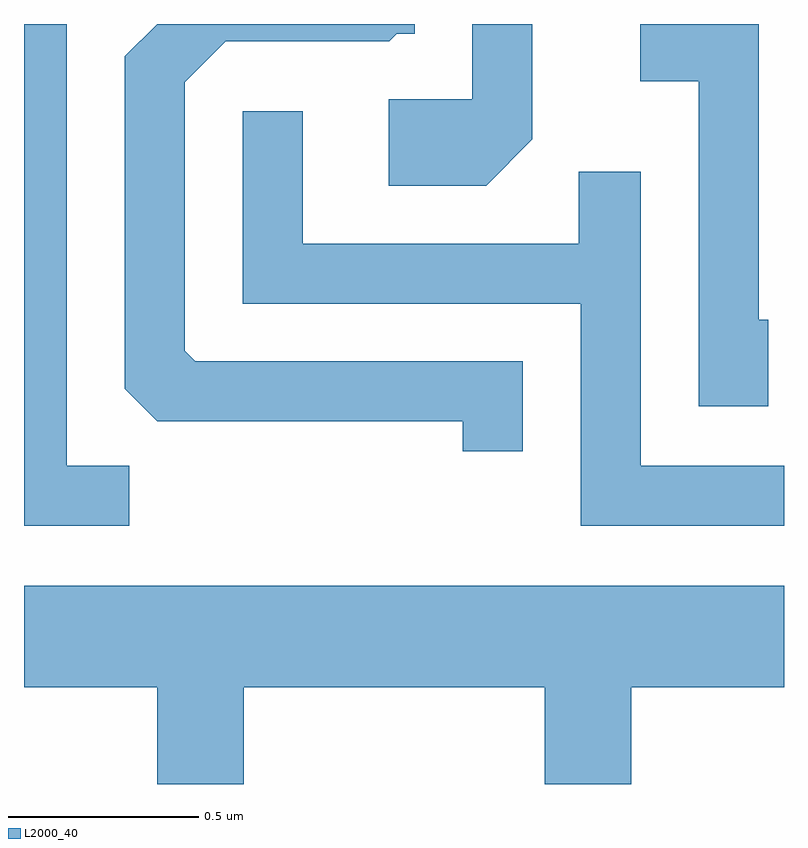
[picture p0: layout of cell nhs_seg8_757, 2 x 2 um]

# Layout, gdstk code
import gdstk
lib = gdstk.Library(unit=1e-6, precision=1e-09)
def P(c, l, *ps):  # polygons
    for p in ps: c.add(gdstk.Polygon(p, *l))
L2000_40 = (2000, 40)

nhs_seg8_757 = lib.new_cell('nhs_seg8_757')
P(nhs_seg8_757, L2000_40, [(191.949,1880.039),(191.949,1880.342),(191.791,1880.342),(191.791,1880.144),(191.571,1880.144),(191.571,1879.916),(191.827,1879.916)],
  [(191.924,1879.454),(191.062,1879.454),(191.034,1879.482),(191.034,1880.189),(191.142,1880.296),(191.572,1880.296),(191.592,1880.316),(191.639,1880.316),(191.639,1880.342),(190.961,1880.342),(190.876,1880.257),(190.876,1879.382),(190.962,1879.296),(191.766,1879.296),(191.766,1879.218),(191.924,1879.218)],
  [(190.888,1879.179),(190.724,1879.179),(190.724,1880.342),(190.611,1880.342),(190.611,1879.021),(190.888,1879.021)],
  [(192.569,1879.564),(192.544,1879.564),(192.544,1880.342),(192.233,1880.342),(192.233,1880.191),(192.386,1880.191),(192.386,1879.336),(192.569,1879.336)],
  [(192.611,1879.179),(192.234,1879.179),(192.234,1879.953),(192.071,1879.953),(192.071,1879.764),(191.344,1879.764),(191.344,1880.113),(191.186,1880.113),(191.186,1879.606),(192.076,1879.606),(192.076,1879.021),(192.611,1879.021)],
  [(191.189,1878.596),(191.981,1878.596),(191.981,1878.342),(192.209,1878.342),(192.209,1878.596),(192.611,1878.596),(192.611,1878.864),(190.611,1878.864),(190.611,1878.596),(190.961,1878.596),(190.961,1878.342),(191.189,1878.342)])

lib.write_gds('nhs_seg8_757.gds')
